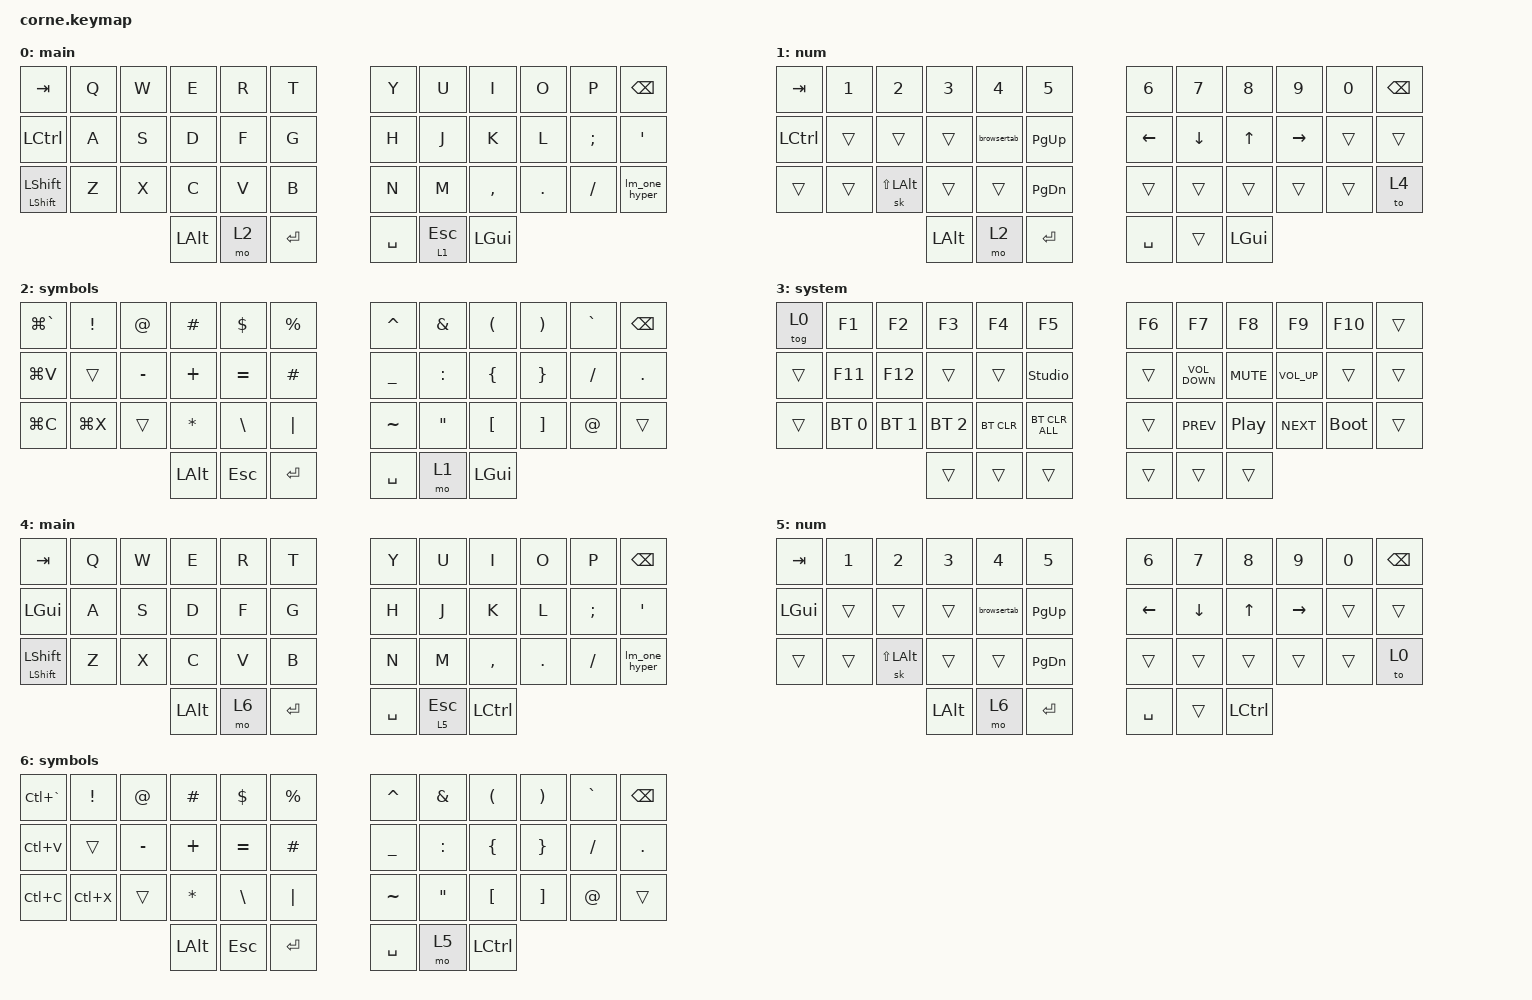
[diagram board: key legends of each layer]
#include <behaviors.dtsi>
#include <dt-bindings/zmk/bt.h>
#include <dt-bindings/zmk/keys.h>

#define DEF 0
#define NAV 1
#define SYM 2
#define ADJ 3
#define EXTRA 4

/ {
    behaviors {
        hm: homerow_mods {
            compatible = "zmk,behavior-hold-tap";
            label = "HOMEROW_MODS";
            #binding-cells = <2>;
            tapping-term-ms = <200>;
            quick_tap_ms = <0>;
            flavor = "tap-preferred";
            bindings = <&kp>, <&kp>;

            quick-tap-ms = <180>;
            global-quick-tap;
        };

        para: para {
            compatible = "zmk,behavior-tap-dance";
            label = "PARA";
            #binding-cells = <0>;
            bindings = <&kp LEFT_PARENTHESIS>, <&kp RIGHT_PARENTHESIS>;
        };

        caps: caps {
            compatible = "zmk,behavior-caps-word";
            label = "CAPS";
            #binding-cells = <0>;
            continue-list = <MINUS BACKSPACE>;
        };

        paraless: paraless {
            compatible = "zmk,behavior-mod-morph";
            label = "PARALESS";
            bindings = <&kp LEFT_PARENTHESIS>, <&kp LESS_THAN>;

            #binding-cells = <0>;
            mods = <(MOD_LSFT)>;
        };

        paragreat: paragreat {
            compatible = "zmk,behavior-mod-morph";
            label = "PARAGREAT";
            bindings = <&kp RIGHT_PARENTHESIS>, <&kp GREATER_THAN>;

            #binding-cells = <0>;
            mods = <(MOD_LSFT)>;
        };

        skq: sticky_key_quick_release {
            compatible = "zmk,behavior-sticky-key";
            bindings = <&kp>;
            #binding-cells = <1>;
            release-after-ms = <1000>;
            quick-release;
            ignore-modifiers;
        };

        lht: leftshift_hold_tap {
            compatible = "zmk,behavior-hold-tap";
            bindings = <&kp>, <&skq>;

            #binding-cells = <2>;
            tapping-term-ms = <200>;
            flavor = "tap-preferred";
        };
    };

    macros {
        browsertab: browsertab {
            compatible = "zmk,behavior-macro";
            #binding-cells = <0>;
            bindings =
                <&macro_press>,
                <&kp LCTRL>,
                <&macro_tap>,
                <&kp TAB>,
                <&macro_release>,
                <&kp LCTRL>;
        };

        lm_one_hyper: lm_one_hyper {
            compatible = "zmk,behavior-macro";
            #binding-cells = <0>;
            bindings =
                <&macro_press>,
                <&mo 1>,
                <&macro_press>,
                <&kp>,
                <&macro_pause_for_release>,
                <&macro_release>,
                <&kp>,
                <&macro_press>,
                <&mo 1>;

            label = "LM_ONE_HYPER";
        };
    };

    combos {
        compatible = "zmk,combos";

        escape {
            bindings = <&kp ESCAPE>;
            key-positions = <13 29>;
        };

        delete {
            bindings = <&kp DELETE>;
            key-positions = <15 21>;
        };

        perc {
            bindings = <&kp PERCENT>;
            key-positions = <5 17>;
        };

        equal {
            bindings = <&kp EQUAL>;
            key-positions = <28 16>;
        };

        dollar {
            bindings = <&kp DOLLAR>;
            key-positions = <4 16>;
        };

        pound {
            bindings = <&kp POUND>;
            key-positions = <3 15>;
        };

        at {
            bindings = <&kp AT>;
            key-positions = <2 14>;
        };

        backslash {
            bindings = <&kp BACKSLASH>;
            key-positions = <26 14>;
        };

        copy {
            bindings = <&kp K_COPY>;
            key-positions = <28 27>;
        };

        paste {
            bindings = <&kp K_PASTE>;
            key-positions = <26 27>;
        };

        star {
            bindings = <&kp STAR>;
            key-positions = <8 20>;
        };

        slash {
            bindings = <&kp SLASH>;
            key-positions = <32 20>;
        };

        plus {
            bindings = <&kp PLUS>;
            key-positions = <7 19>;
        };

        minus {
            bindings = <&kp KP_MINUS>;
            key-positions = <31 19>;
        };

        underscore {
            bindings = <&kp UNDER>;
            key-positions = <30 18>;
        };

        leftbrack {
            bindings = <&kp LEFT_BRACKET>;
            key-positions = <31 32>;
        };

        rightbrack {
            bindings = <&kp RIGHT_BRACKET>;
            key-positions = <33 32>;
        };

        para-less {
            bindings = <&paraless>;
            key-positions = <20 19>;
        };

        para-great {
            bindings = <&paragreat>;
            key-positions = <20 21>;
        };
    };

    //

    keymap {
        compatible = "zmk,keymap";

        mac_base {
            display-name = "main";

            // -----------------------------------------------------------------------------------------
            // |  Q  |  W  |  E  |  R  |  T  |   |  Y  |  U   |  I  |  O  |  P  |
            // |  A  |  S  |  D  |  F  |  G  |   |  H  |  J   |  K  |  L  |  ;  |
            // |  Z  |  X  |  C  |  V  |  B  |   |  N  |  M   |  ,  |  .  |  /  |
            // | GUI | CTRL | SHFT | LWR | SPC |   | ENT | RSE  | BKSP | ALT | ESC |

            bindings = <
&kp TAB             &kp Q  &kp W  &kp E         &kp R  &kp T      &kp Y      &kp U      &kp I         &kp O    &kp P     &kp BACKSPACE
&kp LCTRL           &kp A  &kp S  &kp D         &kp F  &kp G      &kp H      &kp J      &kp K         &kp L    &kp SEMI  &kp SQT
&lht LSHIFT LSHIFT  &kp Z  &kp X  &kp C         &kp V  &kp B      &kp N      &kp M      &kp COMMA     &kp DOT  &kp FSLH  &lm_one_hyper
                                  &kp LEFT_ALT  &mo 2  &kp RET    &kp SPACE  &lt 1 ESC  &kp LEFT_GUI
            >;
        };

        mac_num {
            display-name = "num";

            // -----------------------------------------------------------------------------------------
            // |  TAB |  1  |  2  |  3  |  4  |  5  |   |  6  |  7  |  8  |  9  |  0  | BKSP |
            // | BTCLR| BT1 | BT2 | BT3 | BT4 | BT5 |   | LFT | DWN |  UP | RGT |     |      |
            // | SHFT |     |     |     |     |     |   |     |     |     |     |     |      |
            // | GUI | CTRL | SHFT | LWR | SPC |   | ENT | RSE  | BKSP | ALT | ESC |

            bindings = <
&kp TAB           &kp N1  &kp N2            &kp N3        &kp N4       &kp N5           &kp N6     &kp N7          &kp N8        &kp N9           &kp N0  &kp BACKSPACE
&kp LEFT_CONTROL  &trans  &trans            &trans        &browsertab  &kp PAGE_UP      &kp LEFT   &kp DOWN_ARROW  &kp UP_ARROW  &kp RIGHT_ARROW  &trans  &trans
&trans            &trans  &sk LS(LEFT_ALT)  &trans        &trans       &kp PAGE_DOWN    &trans     &trans          &trans        &trans           &trans  &to 4
                                            &kp LEFT_ALT  &mo 2        &kp ENTER        &kp SPACE  &trans          &kp LEFT_GUI
            >;
        };

        mac_symbols {
            display-name = "symbols";

            // -----------------------------------------------------------------------------------------
            // |  TAB |  !  |  @  |  #  |  $  |  %  |   |  ^  |  &  |  *  |  (  |  )  | BKSP |
            // | CTRL |     |     |     |     |     |   |  -  |  =  |  [  |  ]  |  \  |  `   |
            // | SHFT |     |     |     |     |     |   |  _  |  +  |  {  |  }  | "|" |  ~   |
            //                    | GUI |     | SPC |   | ENT |     | ALT |

            bindings = <
&kp LG(GRAVE)  &kp EXCL   &kp AT     &kp HASH      &kp DLLR       &kp PRCNT    &kp CARET       &kp AMPS           &kp LEFT_PARENTHESIS  &kp RIGHT_PARENTHESIS  &kp GRAVE    &kp BACKSPACE
&kp LG(V)      &trans     &kp MINUS  &kp PLUS      &kp EQUAL      &kp HASH     &kp UNDERSCORE  &kp COLON          &kp LEFT_BRACE        &kp RIGHT_BRACE        &kp SLASH    &kp DOT
&kp LG(C)      &kp LG(X)  &trans     &kp ASTERISK  &kp BACKSLASH  &kp PIPE     &kp TILDE       &kp DOUBLE_QUOTES  &kp LEFT_BRACKET      &kp RIGHT_BRACKET      &kp AT_SIGN  &trans
                                     &kp LEFT_ALT  &kp ESC        &kp ENTER    &kp SPACE       &mo 1              &kp LEFT_GUI
            >;
        };

        system {
            display-name = "system";
            bindings = <
&tog 0  &kp F1        &kp F2        &kp F3        &kp F4      &kp F5            &kp F6  &kp F7             &kp F8      &kp F9           &kp F10      &trans
&trans  &kp F11       &kp F12       &trans        &trans      &studio_unlock    &trans  &kp C_VOLUME_DOWN  &kp C_MUTE  &kp C_VOLUME_UP  &trans       &trans
&trans  &bt BT_SEL 0  &bt BT_SEL 1  &bt BT_SEL 2  &bt BT_CLR  &bt BT_CLR_ALL    &trans  &kp C_PREV         &kp C_PP    &kp C_NEXT       &bootloader  &trans
                                    &trans        &trans      &trans            &trans  &trans             &trans
            >;
        };

        windows_base {
            display-name = "main";
            bindings = <
&kp TAB             &kp Q  &kp W  &kp E         &kp R  &kp T      &kp Y      &kp U      &kp I             &kp O    &kp P     &kp BACKSPACE
&kp LGUI            &kp A  &kp S  &kp D         &kp F  &kp G      &kp H      &kp J      &kp K             &kp L    &kp SEMI  &kp SQT
&lht LSHIFT LSHIFT  &kp Z  &kp X  &kp C         &kp V  &kp B      &kp N      &kp M      &kp COMMA         &kp DOT  &kp FSLH  &lm_one_hyper
                                  &kp LEFT_ALT  &mo 6  &kp RET    &kp SPACE  &lt 5 ESC  &kp LEFT_CONTROL
            >;
        };

        windows_num {
            display-name = "num";
            bindings = <
&kp TAB   &kp N1  &kp N2            &kp N3        &kp N4       &kp N5           &kp N6     &kp N7          &kp N8        &kp N9           &kp N0  &kp BACKSPACE
&kp LGUI  &trans  &trans            &trans        &browsertab  &kp PAGE_UP      &kp LEFT   &kp DOWN_ARROW  &kp UP_ARROW  &kp RIGHT_ARROW  &trans  &trans
&trans    &trans  &sk LS(LEFT_ALT)  &trans        &trans       &kp PAGE_DOWN    &trans     &trans          &trans        &trans           &trans  &to 0
                                    &kp LEFT_ALT  &mo 6        &kp ENTER        &kp SPACE  &trans          &kp LCTRL
            >;
        };

        windows_symbols {
            display-name = "symbols";
            bindings = <
&kp LC(GRAVE)  &kp EXCL   &kp AT     &kp HASH      &kp DLLR       &kp PRCNT    &kp CARET       &kp AMPS           &kp LEFT_PARENTHESIS  &kp RIGHT_PARENTHESIS  &kp GRAVE    &kp BACKSPACE
&kp LC(V)      &trans     &kp MINUS  &kp PLUS      &kp EQUAL      &kp HASH     &kp UNDERSCORE  &kp COLON          &kp LEFT_BRACE        &kp RIGHT_BRACE        &kp SLASH    &kp DOT
&kp LC(C)      &kp LC(X)  &trans     &kp ASTERISK  &kp BACKSLASH  &kp PIPE     &kp TILDE       &kp DOUBLE_QUOTES  &kp LEFT_BRACKET      &kp RIGHT_BRACKET      &kp AT_SIGN  &trans
                                     &kp LEFT_ALT  &kp ESC        &kp ENTER    &kp SPACE       &mo 5              &kp LCTRL
            >;
        };
    };

    conditional_layers {
        compatible = "zmk,conditional-layers";

        l3 {
            if-layers = <1 2>;
            then-layer = <3>;
        };

        l3_win {
            if-layers = <5 6>;
            then-layer = <3>;
        };
    };
};
